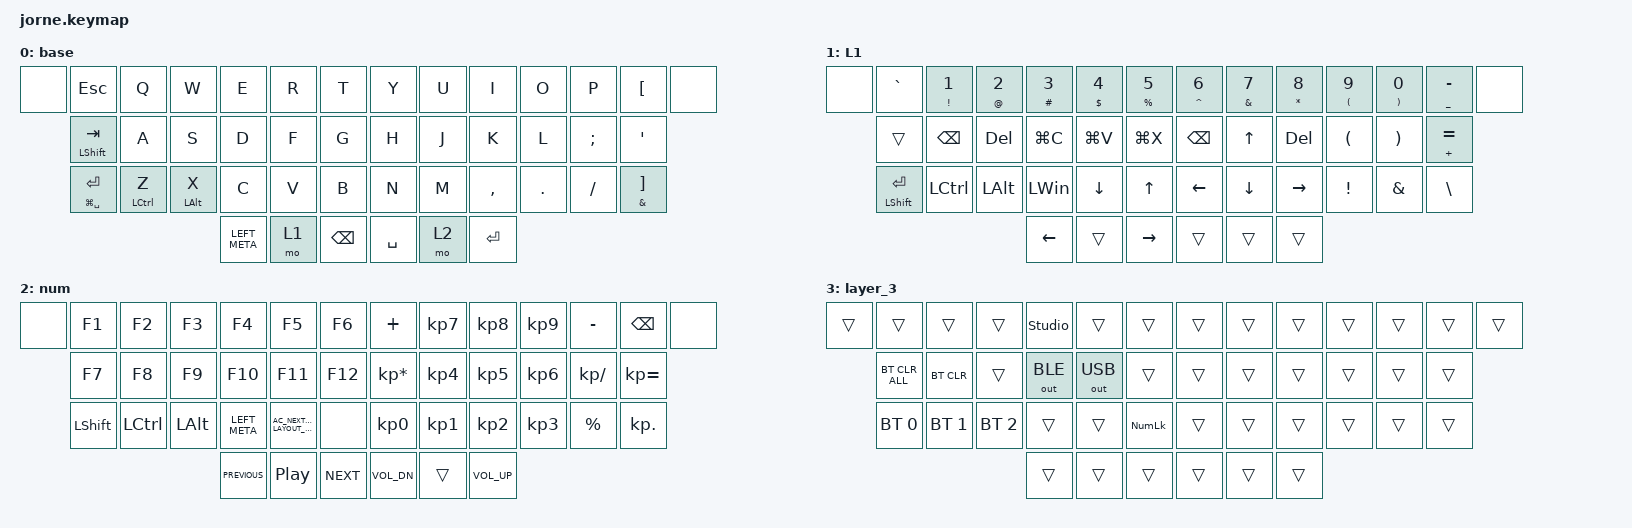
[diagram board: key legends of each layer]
/*
 * Copyright (c) 2020 The ZMK Contributors
 *
 * SPDX-License-Identifier: MIT
 */

#include <behaviors.dtsi>
#include <dt-bindings/zmk/bt.h>
#include <dt-bindings/zmk/keys.h>
#include <dt-bindings/zmk/outputs.h>

/ {
    combos {
        compatible = "zmk,combos";

        layer0 {
            bindings = <&tog 0>;
            key-positions = <1 37>;
            timeout-ms = <200>;
        };

        game_esc {
            bindings = <&kp ESC>;
            key-positions = <1 2>;
        };

        backspace {
            bindings = <&kp BACKSPACE>;
            key-positions = <12 25>;
        };

        globe {
            bindings = <&kp GLOBE>;
            key-positions = <26 27>;
        };

        control {
            bindings = <&kp LEFT_CONTROL>;
            key-positions = <38 39>;
        };

        layer1 {
            bindings = <&tog 1>;
            key-positions = <2 37>;
        };

        layer2 {
            bindings = <&tog 2>;
            key-positions = <3 37>;
        };

        layersettings {
            bindings = <&mo 3>;
            key-positions = <19 37>;
        };
    };

    behaviors {
        hml: hml {
            compatible = "zmk,behavior-hold-tap";
            label = "HML";
            bindings = <&kp>, <&kp>;

            #binding-cells = <2>;
            tapping-term-ms = <220>;
            quick-tap-ms = <175>;
            flavor = "balanced";
            require-prior-idle-ms = <100>;
            hold-trigger-key-positions = <7 8 9 10 11 12 13 20 21 22 23 24 25 32 33 34 35 36 37 38 39 40 41 42 43>;
            hold-trigger-on-release;
        };

        hmr: hmr {
            compatible = "zmk,behavior-hold-tap";
            label = "HMR";
            bindings = <&kp>, <&kp>;

            #binding-cells = <2>;
            tapping-term-ms = <220>;
            quick-tap-ms = <175>;
            require-prior-idle-ms = <100>;
            flavor = "balanced";
            hold-trigger-key-positions = <0 1 2 3 4 5 6 14 15 16 17 18 19 26 27 28 29 30 31 38 39 40 41 42 43>;
            hold-trigger-on-release;
        };

        tkl: tkl {
            compatible = "zmk,behavior-hold-tap";
            label = "TKL";
            bindings = <&mo>, <&kp>;

            #binding-cells = <2>;
            tapping-term-ms = <220>;
            quick-tap-ms = <175>;
            flavor = "balanced";
            require-prior-idle-ms = <100>;
            hold-trigger-key-positions = <7 8 9 10 11 12 13 20 21 22 23 24 25 32 33 34 35 36 37 38 39 40 41 42 43>;
            hold-trigger-on-release;
        };

        tkr: tkr {
            compatible = "zmk,behavior-hold-tap";
            label = "TKR";
            bindings = <&mo>, <&kp>;

            #binding-cells = <2>;
            tapping-term-ms = <220>;
            quick-tap-ms = <175>;
            require-prior-idle-ms = <100>;
            flavor = "balanced";
            hold-trigger-key-positions = <0 1 2 3 4 5 6 14 15 16 17 18 19 26 27 28 29 30 31 38 39 40 41 42 43>;
            hold-trigger-on-release;
        };
    };

    keymap {
        compatible = "zmk,keymap";

        base {
            // Jorne: 44 keys (positions 0 and 13 are extra outer keys, not present physically)
            // -----------------------------------------------------------------------------------------
            // | x |  ESC |  Q  |  W  |  E  |  R  |  T  |   |  Y  |  U   |  I  |  O  |  P  | BKSP | x |
            //     | TAB  |  A  |  S  |  D  |  F  |  G  |   |  H  |  J   |  K  |  L  |  '  |  '   |
            //     | SHFT |  Z  |  X  |  C  |  V  |  B  |   |  N  |  M   |  ,  |  .  |  /  | SHFT |
            //                        | GUI | LWR | SPC |   | ENT | RSE  | ALT |

            bindings = <
&none  &kp ESCAPE           &kp Q        &kp W           &kp E          &kp R  &kp T            &kp Y      &kp U  &kp I      &kp O    &kp P          &kp LEFT_BRACKET             &none
       &mt LEFT_SHIFT TAB   &kp A        &kp S           &kp D          &kp F  &kp G            &kp H      &kp J  &kp K      &kp L    &kp SEMICOLON  &kp SINGLE_QUOTE
       &mt LG(SPACE) ENTER  &mt LCTRL Z  &mt LEFT_ALT X  &kp C          &kp V  &kp B            &kp N      &kp M  &kp COMMA  &kp DOT  &kp FSLH       &mt AMPERSAND RIGHT_BRACKET
                                                         &kp LEFT_META  &mo 1  &kp BACKSPACE    &kp SPACE  &mo 2  &kp RET
            >;
        };

        L1 {
            bindings = <
&none  &kp GRAVE             &mt EXCLAMATION NUMBER_1  &mt AT_SIGN NUMBER_2  &mt POUND NUMBER_3  &mt DOLLAR NUMBER_4  &mt PERCENT NUMBER_5    &mt CARET NUMBER_6  &mt AMPERSAND NUMBER_7  &mt ASTERISK NUMBER_8  &mt LEFT_PARENTHESIS NUMBER_9  &mt RIGHT_PARENTHESIS NUMBER_0  &mt UNDERSCORE MINUS  &none
       &trans                &kp BACKSPACE             &kp DELETE            &kp LG(C)           &kp LG(V)            &kp LG(X)               &kp BACKSPACE       &kp UP_ARROW            &kp DELETE             &kp LEFT_PARENTHESIS           &kp RIGHT_PARENTHESIS           &mt PLUS EQUAL
       &mt LEFT_SHIFT ENTER  &kp LEFT_CONTROL          &kp LEFT_ALT          &kp LEFT_WIN        &kp DOWN_ARROW       &kp UP_ARROW            &kp LEFT_ARROW      &kp DOWN_ARROW          &kp RIGHT_ARROW        &kp EXCLAMATION                &kp AMPERSAND                   &kp BACKSLASH
                                                                             &kp LEFT_ARROW      &trans               &kp RIGHT_ARROW         &trans              &trans                  &trans
            >;
        };

        num {
            bindings = <
&none  &kp F1          &kp F2            &kp F3        &kp F4          &kp F5                                &kp F6        &kp PLUS         &kp KP_NUMBER_7  &kp KP_NUMBER_8  &kp KP_NUMBER_9  &kp MINUS      &kp BACKSPACE  &none
       &kp F7          &kp F8            &kp F9        &kp F10         &kp F11                               &kp F12       &kp KP_MULTIPLY  &kp KP_NUMBER_4  &kp KP_NUMBER_5  &kp KP_NUMBER_6  &kp KP_DIVIDE  &kp KP_EQUAL
       &kp LEFT_SHIFT  &kp LEFT_CONTROL  &kp LEFT_ALT  &kp LEFT_META   &kp C_AC_NEXT_KEYBOARD_LAYOUT_SELECT  &none         &kp KP_NUMBER_0  &kp KP_NUMBER_1  &kp KP_NUMBER_2  &kp KP_NUMBER_3  &kp PERCENT    &kp KP_DOT
                                                       &kp C_PREVIOUS  &kp C_PLAY_PAUSE                      &kp C_NEXT    &kp C_VOL_DN     &trans           &kp C_VOL_UP
            >;
        };

        layer_3 {
            bindings = <
&trans  &trans          &trans        &trans        &studio_unlock  &trans        &trans            &trans  &trans  &trans  &trans  &trans  &trans  &trans
        &bt BT_CLR_ALL  &bt BT_CLR    &trans        &out OUT_BLE    &out OUT_USB  &trans            &trans  &trans  &trans  &trans  &trans  &trans
        &bt BT_SEL 0    &bt BT_SEL 1  &bt BT_SEL 2  &trans          &trans        &kp KP_NUMLOCK    &trans  &trans  &trans  &trans  &trans  &trans
                                                    &trans          &trans        &trans            &trans  &trans  &trans
            >;
        };
    };
};
